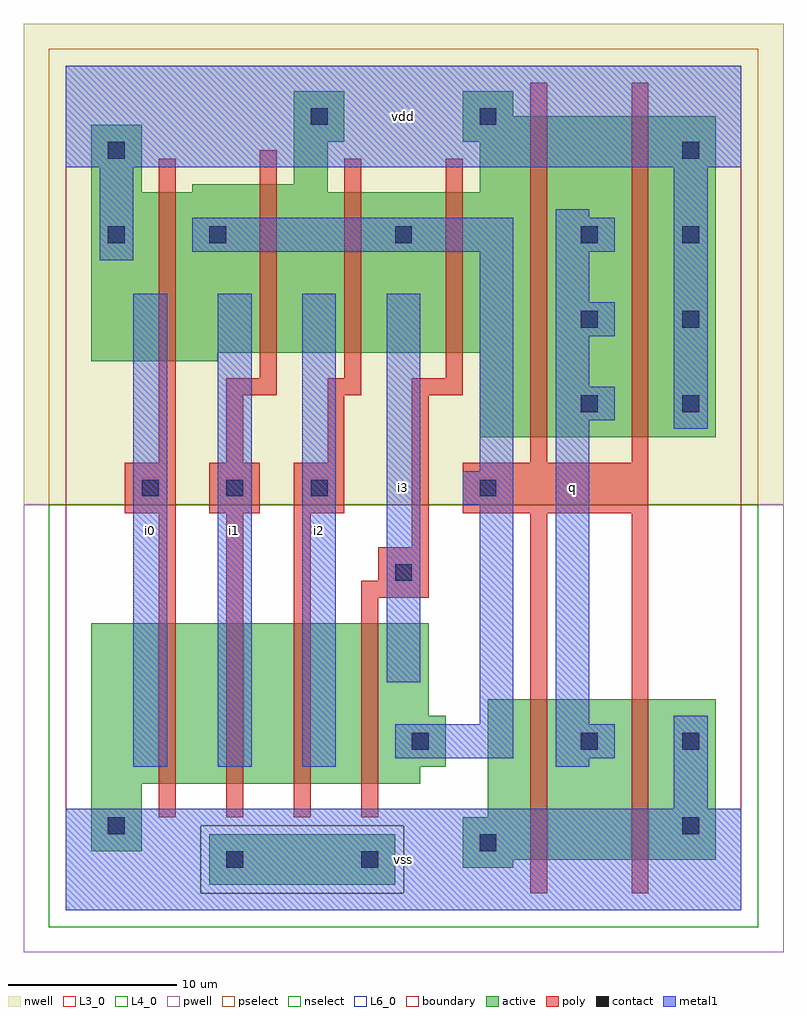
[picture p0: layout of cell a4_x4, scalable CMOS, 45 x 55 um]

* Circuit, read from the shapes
.subckt a4_x4 i0 i1 i2 i3 q vdd vss
M1 n1 i0 vss vss nfet w=9.5u l=1u
M2 n2 i1 n1 vss nfet w=9.5u l=1u
M3 n3 i2 n2 vss nfet w=9.5u l=1u
M4 n4 i3 n3 vss nfet w=9.5u l=1u
M5 q n4 vss vss nfet w=9.5u l=1u m=2
M6 n4 i0 vdd n5 pfet w=10u l=1u
M7 vdd i1 n4 n5 pfet w=10u l=1u
M8 n4 i2 vdd n5 pfet w=9.5u l=1u
M9 vdd i3 n4 n5 pfet w=9.5u l=1u
M10 q n4 vdd n5 pfet w=19u l=1u m=2
.ends

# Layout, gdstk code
import gdstk
lib = gdstk.Library(unit=1e-6, precision=1e-09)
def R(c, l, rs):  # rectangles x0, y0, x1, y1
    for r in rs: c.add(gdstk.rectangle(r[:2], r[2:], *l))
def A(c, l, x, y, w, h, nx, ny, dx, dy):  # array of equal rectangles
    R(c, l, [(x+i*dx, y+j*dy, x+i*dx+w, y+j*dy+h) for i in range(nx) for j in range(ny)])
L3_0 = (3, 0)
L4_0 = (4, 0)
L6_0 = (6, 0)
contact = (25, 0)
pwell = (41, 0)
nwell = (42, 0)
active = (43, 0)
pselect = (44, 0)
nselect = (45, 0)
poly = (46, 0)
metal1 = (49, 0)
boundary = (63, 0)

a4_x4 = lib.new_cell('a4_x4')
R(a4_x4, L3_0, [(23.5,2.5,26.5,3), (23.5,3,38.5,5.5), (1.5,3.5,4.5,7.5), (25,5.5,38.5,12.5), (1.5,7.5,21,8.5), (1.5,8.5,22.5,11.5), (1.5,11.5,21.5,17)])
R(a4_x4, L4_0, [(24.5,28,38.5,33), (1.5,32.5,9,33), (1.5,33,38.5,42.5), (1.5,42.5,4.5,46.5), (7.5,42.5,15.5,43), (24.5,42.5,38.5,45.5), (13.5,43,15.5,45.5), (13.5,45.5,16.5,48.5), (23.5,45.5,38.5,47), (23.5,47,26.5,48.5)])
R(a4_x4, L6_0, [(8.5,1.5,19.5,4.5)])
A(a4_x4, contact, 4.5, 24.5, 1, 1, 3, 1, 5, 0)
A(a4_x4, contact, 36.5, 29.5, 1, 1, 1, 4, 0, 5)
A(a4_x4, contact, 8.5, 39.5, 1, 1, 3, 1, 11, 0)
R(a4_x4, contact, [(9.5,2.5,10.5,3.5), (17.5,2.5,18.5,3.5), (24.5,3.5,25.5,4.5), (2.5,4.5,3.5,5.5), (36.5,4.5,37.5,5.5), (20.5,9.5,21.5,10.5), (30.5,9.5,31.5,10.5), (36.5,9.5,37.5,10.5), (19.5,19.5,20.5,20.5), (24.5,24.5,25.5,25.5), (30.5,29.5,31.5,30.5), (30.5,34.5,31.5,35.5), (2.5,39.5,3.5,40.5), (2.5,44.5,3.5,45.5), (14.5,46.5,15.5,47.5), (24.5,46.5,25.5,47.5)])
R(a4_x4, pwell, [(-2.5,-2.5,42.5,24)])
R(a4_x4, nwell, [(-2.5,24,42.5,52.5)])
R(a4_x4, active, [(8.5,1.5,19.5,4.5), (23.5,2.5,26.5,3), (23.5,3,38.5,5.5), (1.5,3.5,4.5,7.5), (25,5.5,38.5,12.5), (1.5,7.5,21,8.5), (1.5,8.5,22.5,11.5), (1.5,11.5,21.5,17), (24.5,28,38.5,33), (1.5,32.5,9,33), (1.5,33,38.5,42.5), (1.5,42.5,4.5,46.5), (7.5,42.5,15.5,43), (24.5,42.5,38.5,45.5), (13.5,43,15.5,45.5), (13.5,45.5,16.5,48.5), (23.5,45.5,38.5,47), (23.5,47,26.5,48.5)])
R(a4_x4, pselect, [(8,1,20,5), (-1,24,41,51)])
R(a4_x4, nselect, [(-1,-1,41,1), (-1,1,8,5), (20,1,41,5), (-1,5,41,24)])
A(a4_x4, poly, 5.5, 5.5, 1, 18, 3, 1, 4, 0)
A(a4_x4, poly, 3.5, 23.5, 3, 3, 3, 1, 5, 0)
R(a4_x4, poly, [(27.5,1,28.5,23.5), (33.5,1,34.5,23.5), (17.5,5.5,18.5,18.5), (17.5,18.5,21.5,19.5), (18.5,19.5,21.5,21.5), (20.5,21.5,21.5,30.5), (23.5,23.5,34.5,26.5), (5.5,26.5,6.5,44.5), (9.5,26.5,10.5,30.5), (15.5,26.5,16.5,30.5), (27.5,26.5,28.5,49), (33.5,26.5,34.5,49), (9.5,30.5,12.5,31.5), (15.5,30.5,17.5,31.5), (20.5,30.5,23.5,31.5), (11.5,31.5,12.5,45), (16.5,31.5,17.5,44.5), (22.5,31.5,23.5,44.5)])
R(a4_x4, metal1, [(0,0,40,6), (0,0,40,6), (36,6,38,11.5), (36,6,38,11.5), (4,8.5,6,36.5), (4,8.5,6,36.5), (9,8.5,11,36.5), (9,8.5,11,36.5), (14,8.5,16,36.5), (14,8.5,16,36.5), (29,8.5,31,9), (29,8.5,31,9), (19.5,9,26.5,11), (19.5,9,26.5,11), (29,9,32.5,11), (29,9,32.5,11), (24.5,11,26.5,24), (24.5,11,26.5,24), (29,11,31,29), (29,11,31,29), (19,13.5,21,36.5), (19,13.5,21,36.5), (23.5,24,26.5,26), (23.5,24,26.5,26), (24.5,26,26.5,39), (24.5,26,26.5,39), (36,28.5,38,44), (36,28.5,38,44), (29,29,32.5,31), (29,29,32.5,31), (29,31,31,34), (29,31,31,34), (29,34,32.5,36), (29,34,32.5,36), (29,36,31,39), (29,36,31,39), (2,38.5,4,44), (2,38.5,4,44), (7.5,39,26.5,41), (7.5,39,26.5,41), (29,39,32.5,41), (29,39,32.5,41), (29,41,31,41.5), (29,41,31,41.5), (0,44,40,50), (0,44,40,50)])
R(a4_x4, boundary, [(0,0,40,50)])
a4_x4.add(gdstk.Label('i0', (5,22.5), layer=49, texttype=0))
a4_x4.add(gdstk.Label('i1', (10,22.5), layer=49, texttype=0))
a4_x4.add(gdstk.Label('i2', (15,22.5), layer=49, texttype=0))
a4_x4.add(gdstk.Label('vss', (20,3), layer=49, texttype=0))
a4_x4.add(gdstk.Label('i3', (20,25), layer=49, texttype=0))
a4_x4.add(gdstk.Label('vdd', (20,47), layer=49, texttype=0))
a4_x4.add(gdstk.Label('q', (30,25), layer=49, texttype=0))

lib.write_gds('a4_x4.gds')
